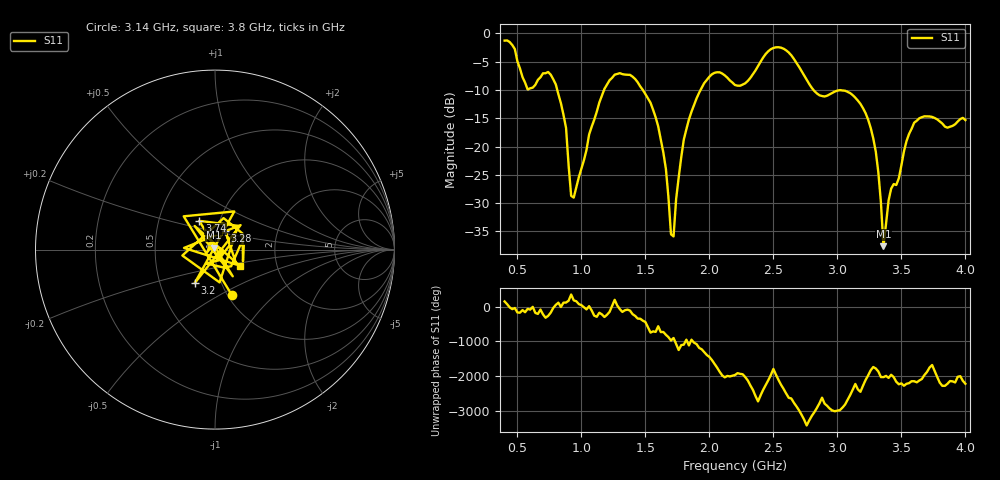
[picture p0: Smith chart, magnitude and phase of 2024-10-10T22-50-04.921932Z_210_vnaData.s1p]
! Created with skrf (http://scikit-rf.org).
# Hz S RI R 50.0
!freq ReS11 ImS11
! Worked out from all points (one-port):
!   181 points, 400 MHz to 4 GHz, reference 50 ohm
!   lowest |S11| = -37.6 dB at 3.36 GHz (marker M1), VSWR 1.03, Z = 49.2 + j1.03 ohm
!   |S11| at or under -10 dB: 811.3 MHz to 1.177 GHz (365.5 MHz wide, 36.8 % of centre); 1.48 GHz to 1.931 GHz (451 MHz wide, 26.4 % of centre); 2.813 GHz to end of sweep
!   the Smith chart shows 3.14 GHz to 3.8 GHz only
!   S11 on the Smith chart (normalised r, x): 3.14 GHz: 1.05, -0.57; 3.2 GHz: 0.75, -0.29; 3.28 GHz: 1.09, +0.23; 3.74 GHz: 0.80, +0.27; 3.8 GHz: 1.30, -0.24
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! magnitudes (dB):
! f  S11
! 400 MHz  -1.3
! 580 MHz  -9.9
! 760 MHz  -7.3
! 860 MHz  -14.4
! 940 MHz  -29.0
! 1.16 GHz  -11.0
! 1.3 GHz  -7.0
! 1.58 GHz  -14.8
! 1.66 GHz  -23.9
! 1.7 GHz  -35.5
! 1.72 GHz  -35.9
! 1.76 GHz  -25.5
! 1.84 GHz  -15.2
! 1.96 GHz  -8.8
! 2.2 GHz  -9.1
! 2.5 GHz  -2.6
! 2.66 GHz  -4.5
! 2.86 GHz  -10.9
! 3.1 GHz  -10.6
! 3.14 GHz  -11.4
! 3.2 GHz  -13.2
! 3.28 GHz  -18.5
! 3.36 GHz  -37.6
! 3.42 GHz  -27.4
! 3.56 GHz  -17.8
! 3.74 GHz  -14.8
! 3.8 GHz  -15.6
! 4 GHz  -15.3
